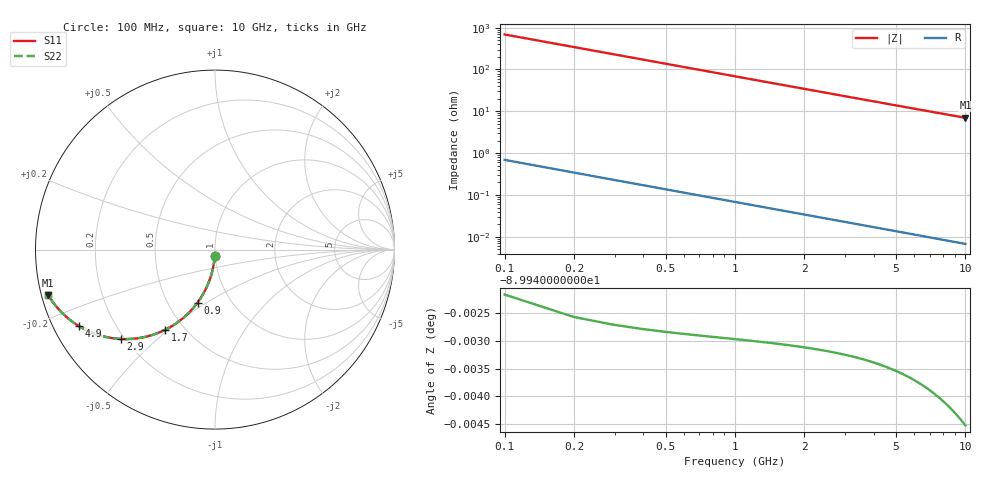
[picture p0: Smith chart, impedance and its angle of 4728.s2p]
# Hz S RI R 50.00
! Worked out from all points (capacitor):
!   100 points, 100 MHz to 10 GHz, reference 50 ohm
!   read as one part in shunt: C = 2.32 pF near 100 MHz
!   lowest |Z| = 7.01 ohm at 10 GHz (marker M1)
!   S11 on the Smith chart (normalised r, x): 100 MHz: 0.99, -0.07; 900 MHz: 0.70, -0.46; 1.7 GHz: 0.40, -0.49; 2.9 GHz: 0.18, -0.39; 4.9 GHz: 0.07, -0.26; 10 GHz: 0.02, -0.13
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1e8  -0.00136 -0.0364  0.9986 -0.0364  0.9986 -0.0364  -0.00136 -0.0364
2e8  -0.00535 -0.0724  0.9946 -0.0725  0.9946 -0.0725  -0.00535 -0.0724
3e8  -0.0119 -0.1079  0.9881 -0.1081  0.9881 -0.1081  -0.0119 -0.1079
4e8  -0.0209 -0.1425  0.9791 -0.1428  0.9791 -0.1428  -0.0209 -0.1425
5e8  -0.0323 -0.1761  0.9677 -0.1764  0.9677 -0.1764  -0.0323 -0.1761
6e8  -0.0458 -0.2083  0.9542 -0.2087  0.9542 -0.2087  -0.0458 -0.2083
7e8  -0.0612 -0.2391  0.9387 -0.2395  0.9387 -0.2395  -0.0612 -0.2391
9e8  -0.0972 -0.2955  0.9028 -0.2961  0.9028 -0.2961  -0.0972 -0.2955
1.1e9  -0.1384 -0.3445  0.8615 -0.3452  0.8615 -0.3452  -0.1384 -0.3445
1.3e9  -0.1831 -0.3859  0.8168 -0.3867  0.8168 -0.3867  -0.1831 -0.3859
1.7e9  -0.2768 -0.4464  0.7232 -0.4475  0.7232 -0.4475  -0.2768 -0.4464
1.8e9  -0.3001 -0.4572  0.6999 -0.4584  0.6999 -0.4584  -0.3001 -0.4572
2.3e9  -0.4113 -0.4908  0.5887 -0.4923  0.5887 -0.4923  -0.4113 -0.4908
2.9e9  -0.5257 -0.4979  0.4743 -0.4998  0.4743 -0.4998  -0.5257 -0.4979
3.4e9  -0.6032 -0.4876  0.3967 -0.4898  0.3967 -0.4898  -0.6032 -0.4876
4.1e9  -0.6881 -0.4614  0.3119 -0.4641  0.3119 -0.4641  -0.6881 -0.4614
4.9e9  -0.7586 -0.4258  0.2413 -0.429  0.2413 -0.429  -0.7586 -0.4258
5.1e9  -0.7729 -0.4168  0.2271 -0.4201  0.2271 -0.4201  -0.7729 -0.4168
5.9e9  -0.8197 -0.382  0.1803 -0.3859  0.1803 -0.3859  -0.8197 -0.382
6.7e9  -0.8541 -0.3503  0.1459 -0.3547  0.1459 -0.3547  -0.8541 -0.3503
8.4e9  -0.9018 -0.2943  0.0982 -0.2999  0.0982 -0.2999  -0.9018 -0.2943
1e10  -0.9285 -0.2537  0.0714 -0.2604  0.0714 -0.2604  -0.9285 -0.2537
